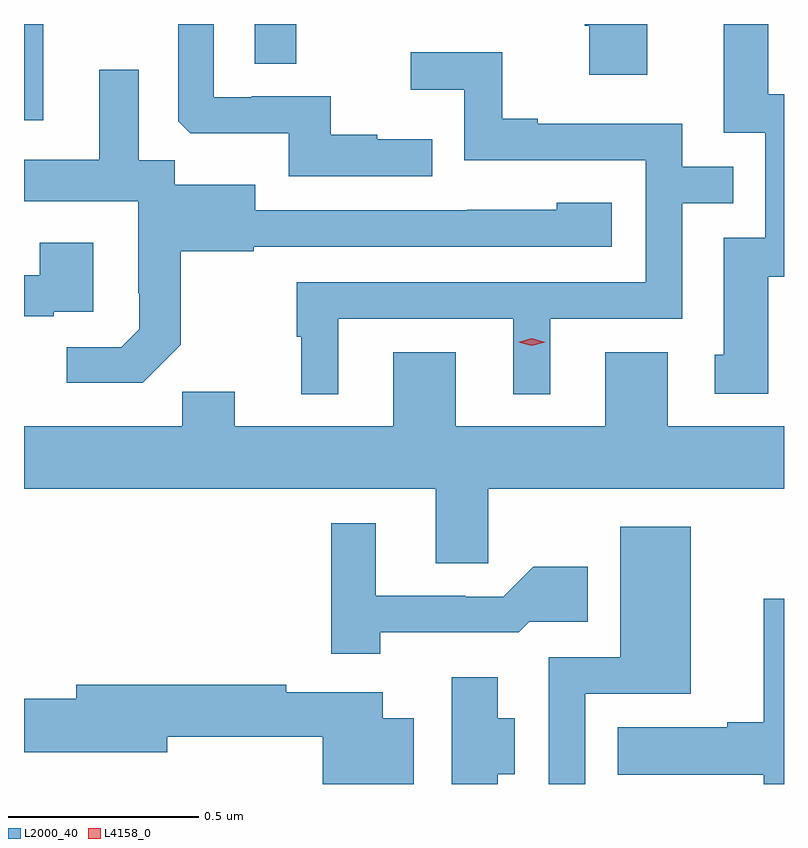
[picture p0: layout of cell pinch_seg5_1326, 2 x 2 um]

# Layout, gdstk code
import gdstk
lib = gdstk.Library(unit=1e-6, precision=1e-09)
def R(c, l, rs):  # rectangles x0, y0, x1, y1
    for r in rs: c.add(gdstk.rectangle(r[:2], r[2:], *l))
def P(c, l, *ps):  # polygons
    for p in ps: c.add(gdstk.Polygon(p, *l))
L2000_40 = (2000, 40)
L4158_0 = (4158, 0)

pinch_seg5_1326 = lib.new_cell('pinch_seg5_1326')
R(pinch_seg5_1326, L2000_40, [(401.555,851.07,401.605,851.323), (402.162,851.218,402.271,851.323)])
P(pinch_seg5_1326, L2000_40, [(402.629,851.02),(402.485,851.02),(402.485,851.032),(402.362,851.032),(402.362,851.133),(402.154,851.133),(402.154,851.13),(402.054,851.13),(402.054,851.323),(401.961,851.323),(401.961,851.067),(401.993,851.036),(402.252,851.036),(402.252,850.923),(402.629,850.923)],
  [(403.195,851.323),(403.031,851.323),(403.031,851.319),(403.043,851.319),(403.043,851.19),(403.195,851.19)],
  [(403.513,850.658),(403.555,850.658),(403.555,851.138),(403.513,851.138),(403.513,851.323),(403.397,851.323),(403.397,851.037),(403.506,851.037),(403.506,850.761),(403.397,850.761),(403.397,850.452),(403.373,850.452),(403.373,850.35),(403.513,850.35)],
  [(402.382,850.548),(402.842,850.548),(402.842,850.349),(402.94,850.349),(402.94,850.548),(403.287,850.548),(403.287,850.851),(403.421,850.851),(403.421,850.947),(403.287,850.947),(403.287,851.061),(402.907,851.061),(402.907,851.074),(402.813,851.074),(402.813,851.249),(402.573,851.249),(402.573,851.15),(402.714,851.15),(402.714,850.965),(403.191,850.965),(403.191,850.644),(402.273,850.644),(402.273,850.5),(402.284,850.5),(402.284,850.349),(402.382,850.349)],
  [(401.967,850.479),(401.967,850.725),(402.159,850.725),(402.159,850.737),(403.102,850.737),(403.102,850.852),(402.957,850.852),(402.957,850.834),(402.721,850.834),(402.721,850.833),(402.163,850.833),(402.163,850.9),(401.952,850.9),(401.952,850.964),(401.857,850.964),(401.857,851.203),(401.753,851.203),(401.753,850.966),(401.555,850.966),(401.555,850.856),(401.856,850.856),(401.856,850.615),(401.858,850.615),(401.858,850.52),(401.811,850.473),(401.667,850.473),(401.667,850.379),(401.867,850.379)],
  [(401.633,850.566),(401.737,850.566),(401.737,850.747),(401.597,850.747),(401.597,850.662),(401.555,850.662),(401.555,850.554),(401.633,850.554)],
  [(402.777,850.1),(403.555,850.1),(403.555,850.264),(403.249,850.264),(403.249,850.459),(403.085,850.459),(403.085,850.264),(402.691,850.264),(402.691,850.459),(402.527,850.459),(402.527,850.264),(402.109,850.264),(402.109,850.355),(401.971,850.355),(401.971,850.264),(401.555,850.264),(401.555,850.1),(402.638,850.1),(402.638,849.904),(402.777,849.904)],
  [(402.493,849.722),(402.857,849.722),(402.885,849.75),(403.039,849.75),(403.039,849.895),(402.895,849.895),(402.816,849.816),(402.716,849.816),(402.716,849.819),(402.481,849.819),(402.481,850.009),(402.364,850.009),(402.364,849.666),(402.493,849.666)],
  [(403.032,849.561),(403.309,849.561),(403.309,850),(403.124,850),(403.124,849.657),(402.936,849.657),(402.936,849.323),(403.032,849.323)],
  [(403.555,849.811),(403.502,849.811),(403.502,849.485),(403.406,849.485),(403.406,849.472),(403.117,849.472),(403.117,849.347),(403.502,849.347),(403.502,849.323),(403.555,849.323)],
  [(402.802,849.349),(402.847,849.349),(402.847,849.496),(402.802,849.496),(402.802,849.604),(402.68,849.604),(402.68,849.323),(402.802,849.323)],
  [(402.58,849.496),(402.499,849.496),(402.499,849.564),(402.245,849.564),(402.245,849.584),(401.693,849.584),(401.693,849.548),(401.555,849.548),(401.555,849.406),(401.932,849.406),(401.932,849.448),(402.341,849.448),(402.341,849.323),(402.58,849.323)])
P(pinch_seg5_1326, L4158_0, [(402.891,850.476),(402.855,850.486),(402.855,850.486),(402.855,850.486),(402.891,850.496),(402.927,850.486),(402.927,850.486),(402.927,850.486)])

lib.write_gds('pinch_seg5_1326.gds')
